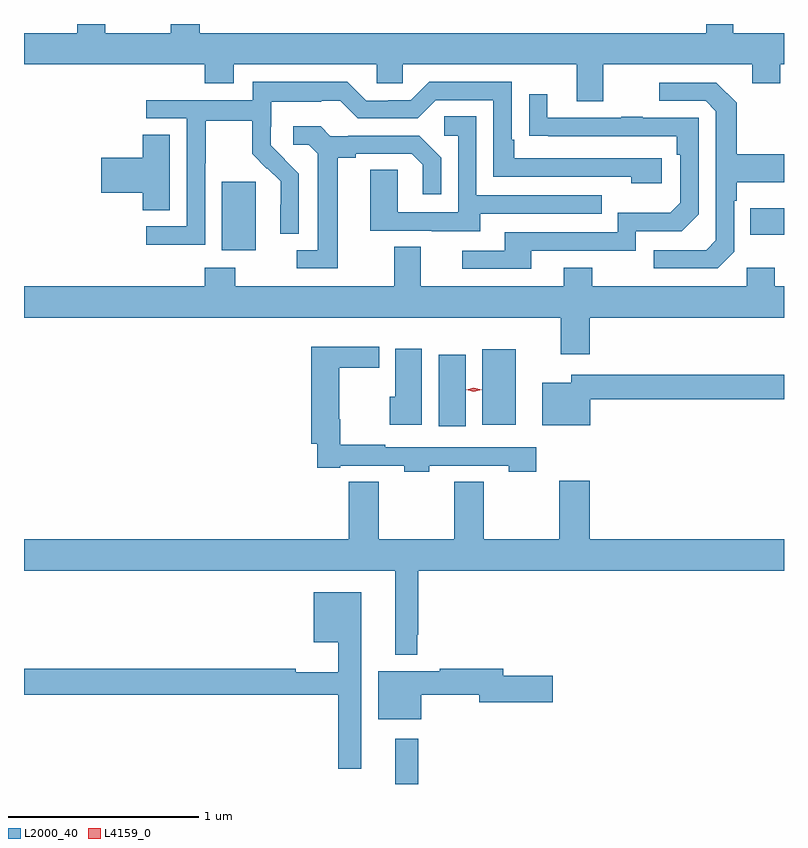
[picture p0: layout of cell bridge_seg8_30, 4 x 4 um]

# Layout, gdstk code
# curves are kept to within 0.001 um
import gdstk
lib = gdstk.Library(unit=1e-6, precision=1e-09)
def R(c, l, rs):  # rectangles x0, y0, x1, y1
    for r in rs: c.add(gdstk.rectangle(r[:2], r[2:], *l))
def P(c, l, *ps):  # polygons
    for p in ps: c.add(gdstk.Polygon(p, *l))
L2000_40 = (2000, 40)
L4159_0 = (4159, 0)

bridge_seg8_30 = lib.new_cell('bridge_seg8_30')
R(bridge_seg8_30, L2000_40, [(1091.975,1158.001,1092.097,1158.238), (1092.203,1159.884,1092.346,1160.26), (1092.434,1159.892,1092.61,1160.29), (1091.063,1160.81,1091.242,1161.171), (1093.843,1160.891,1094.021,1161.031)])
P(bridge_seg8_30, L2000_40, [(1093.069,1161.788),(1093.853,1161.788),(1093.853,1161.689),(1094.001,1161.689),(1094.001,1161.788),(1094.021,1161.788),(1094.021,1161.952),(1093.753,1161.952),(1093.753,1162.001),(1093.613,1162.001),(1093.613,1161.952),(1090.946,1161.952),(1090.946,1162.001),(1090.793,1162.001),(1090.793,1161.952),(1090.449,1161.952),(1090.449,1162.001),(1090.301,1162.001),(1090.301,1161.952),(1090.021,1161.952),(1090.021,1161.788),(1090.973,1161.788),(1090.973,1161.689),(1091.125,1161.689),(1091.125,1161.788),(1091.877,1161.788),(1091.877,1161.69),(1092.015,1161.69),(1092.015,1161.788),(1092.929,1161.788),(1092.929,1161.594),(1093.069,1161.594)],
  [(1090.974,1161.268),(1090.977,1161.268),(1090.977,1161.492),(1091.221,1161.492),(1091.221,1161.317),(1091.298,1161.24),(1091.301,1161.243),(1091.372,1161.173),(1091.372,1161.05),(1091.37,1161.05),(1091.37,1160.896),(1091.466,1160.896),(1091.466,1161.214),(1091.32,1161.362),(1091.32,1161.459),(1091.322,1161.459),(1091.322,1161.593),(1091.585,1161.593),(1091.585,1161.597),(1091.685,1161.597),(1091.778,1161.504),(1092.093,1161.504),(1092.189,1161.6),(1092.492,1161.6),(1092.492,1161.198),(1093.217,1161.198),(1093.217,1161.164),(1093.378,1161.164),(1093.378,1161.294),(1092.601,1161.294),(1092.601,1161.391),(1092.588,1161.391),(1092.588,1161.696),(1092.153,1161.696),(1092.057,1161.6),(1091.939,1161.6),(1091.939,1161.597),(1091.823,1161.597),(1091.723,1161.697),(1091.226,1161.697),(1091.226,1161.6),(1090.665,1161.6),(1090.665,1161.504),(1090.878,1161.504),(1090.878,1160.937),(1090.665,1160.937),(1090.665,1160.839),(1090.974,1160.839)],
  [(1093.758,1160.802),(1093.758,1161.071),(1093.771,1161.071),(1093.771,1161.167),(1094.021,1161.167),(1094.021,1161.315),(1093.771,1161.315),(1093.771,1161.587),(1093.665,1161.693),(1093.365,1161.693),(1093.365,1161.597),(1093.608,1161.597),(1093.662,1161.543),(1093.662,1160.862),(1093.611,1160.811),(1093.335,1160.811),(1093.335,1160.715),(1093.671,1160.715)],
  [(1092.691,1160.808),(1093.242,1160.808),(1093.242,1160.91),(1093.482,1160.91),(1093.572,1161),(1093.572,1161.507),(1093.277,1161.507),(1093.277,1161.512),(1093.165,1161.512),(1093.165,1161.507),(1092.775,1161.507),(1092.775,1161.631),(1092.679,1161.631),(1092.679,1161.412),(1093.456,1161.411),(1093.456,1161.314),(1093.476,1161.314),(1093.476,1161.06),(1093.423,1161.007),(1093.146,1161.007),(1093.146,1160.904),(1092.551,1160.904),(1092.551,1160.808),(1092.327,1160.808),(1092.327,1160.712),(1092.691,1160.712)],
  [(1092.421,1161.003),(1093.061,1161.003),(1093.061,1161.099),(1092.402,1161.099),(1092.402,1161.515),(1092.234,1161.515),(1092.234,1161.414),(1092.306,1161.414),(1092.306,1161.009),(1091.988,1161.009),(1091.988,1161.233),(1091.843,1161.233),(1091.843,1160.913),(1092.167,1160.913),(1092.167,1160.909),(1092.421,1160.909)],
  [(1091.671,1161.296),(1091.767,1161.296),(1091.767,1161.318),(1092.062,1161.318),(1092.119,1161.261),(1092.119,1161.105),(1092.216,1161.105),(1092.216,1161.298),(1092.1,1161.414),(1091.728,1161.414),(1091.728,1161.411),(1091.634,1161.411),(1091.582,1161.463),(1091.439,1161.463),(1091.439,1161.366),(1091.52,1161.366),(1091.567,1161.319),(1091.567,1160.811),(1091.457,1160.811),(1091.457,1160.715),(1091.671,1160.715)],
  [(1090.789,1161.419),(1090.646,1161.419),(1090.646,1161.296),(1090.428,1161.296),(1090.428,1161.113),(1090.646,1161.113),(1090.646,1161.022),(1090.789,1161.022)],
  [(1092.998,1160.456),(1094.021,1160.456),(1094.021,1160.62),(1093.971,1160.62),(1093.971,1160.719),(1093.824,1160.719),(1093.824,1160.62),(1093.011,1160.62),(1093.011,1160.719),(1092.863,1160.719),(1092.863,1160.62),(1092.109,1160.62),(1092.109,1160.828),(1091.969,1160.828),(1091.969,1160.62),(1091.133,1160.62),(1091.133,1160.719),(1090.973,1160.719),(1090.973,1160.62),(1090.021,1160.62),(1090.021,1160.456),(1092.845,1160.456),(1092.845,1160.262),(1092.998,1160.262)],
  [(1092.153,1159.677),(1092.573,1159.677),(1092.573,1159.645),(1092.718,1159.645),(1092.718,1159.773),(1091.921,1159.773),(1091.921,1159.786),(1091.686,1159.786),(1091.686,1159.92),(1091.68,1159.92),(1091.68,1160.193),(1091.89,1160.193),(1091.89,1160.302),(1091.534,1160.302),(1091.534,1159.793),(1091.565,1159.793),(1091.565,1159.665),(1091.686,1159.665),(1091.686,1159.677),(1092.021,1159.677),(1092.021,1159.645),(1092.153,1159.645)],
  [(1092.115,1160.293),(1091.975,1160.293),(1091.975,1160.04),(1091.945,1160.04),(1091.945,1159.892),(1092.115,1159.892)],
  [(1093,1160.026),(1094.021,1160.026),(1094.021,1160.155),(1092.902,1160.155),(1092.902,1160.113),(1092.749,1160.113),(1092.749,1159.889),(1093,1159.889)],
  [(1094.021,1159.288),(1092.998,1159.288),(1092.998,1159.597),(1092.838,1159.597),(1092.838,1159.288),(1092.44,1159.288),(1092.44,1159.592),(1092.286,1159.592),(1092.286,1159.288),(1091.888,1159.288),(1091.888,1159.592),(1091.729,1159.592),(1091.729,1159.288),(1090.021,1159.288),(1090.021,1159.124),(1091.975,1159.124),(1091.975,1158.68),(1092.09,1158.68),(1092.09,1158.787),(1092.097,1158.787),(1092.097,1159.124),(1094.021,1159.124)],
  [(1091.797,1159.009),(1091.546,1159.009),(1091.546,1158.746),(1091.676,1158.746),(1091.676,1158.589),(1091.45,1158.589),(1091.45,1158.608),(1090.021,1158.608),(1090.021,1158.472),(1091.676,1158.472),(1091.676,1158.081),(1091.797,1158.081)],
  [(1092.112,1158.472),(1092.416,1158.472),(1092.416,1158.43),(1092.805,1158.43),(1092.805,1158.572),(1092.544,1158.572),(1092.544,1158.608),(1092.208,1158.608),(1092.208,1158.595),(1091.885,1158.595),(1091.885,1158.341),(1092.112,1158.341)])
P(bridge_seg8_30, L4159_0, [(1092.389,1160.066),(1092.349,1160.076),(1092.348,1160.076),(1092.349,1160.076),(1092.389,1160.086),(1092.43,1160.077),(1092.43,1160.077),(1092.43,1160.077)])

lib.write_gds('bridge_seg8_30.gds')
